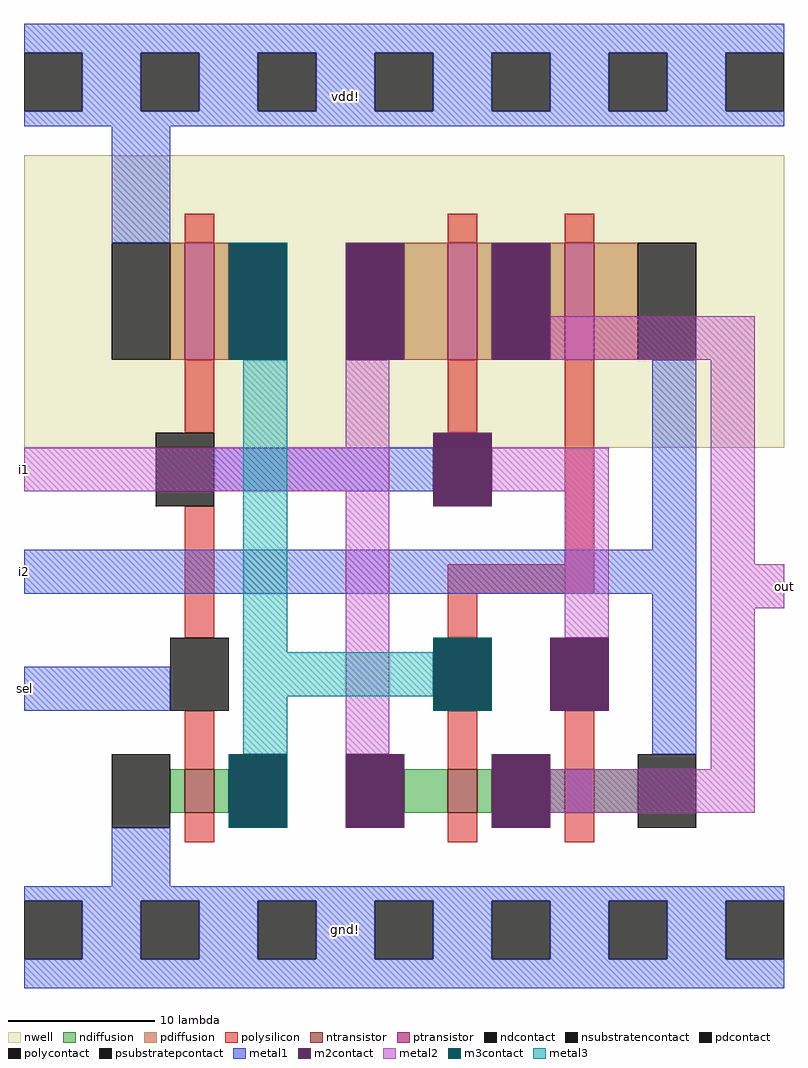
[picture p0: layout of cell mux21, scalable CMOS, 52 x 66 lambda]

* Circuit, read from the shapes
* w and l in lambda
.subckt mux21 gnd! i1 i2 out sel vdd!
M1 n1 sel gnd! gnd! nfet w=3 l=2
M2 out n1 i1 gnd! nfet w=3 l=2
M3 i2 sel out gnd! nfet w=3 l=2
M4 n1 sel vdd! n2 pfet w=8 l=2
M5 out sel i1 n2 pfet w=8 l=2
M6 i2 n1 out n2 pfet w=8 l=2
.ends

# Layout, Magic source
magic
tech scmos
<< nwell >>
rect 0 20 52 40
<< ntransistor >>
rect 11 -5 13 -2
rect 29 -5 31 -2
rect 37 -5 39 -2
<< ptransistor >>
rect 11 26 13 34
rect 29 26 31 34
rect 37 26 39 34
<< ndiffusion >>
rect 10 -5 11 -2
rect 13 -5 14 -2
rect 26 -5 29 -2
rect 31 -5 32 -2
rect 36 -5 37 -2
rect 39 -5 42 -2
<< pdiffusion >>
rect 10 26 11 34
rect 13 26 14 34
rect 26 26 29 34
rect 31 26 32 34
rect 36 26 37 34
rect 39 26 42 34
<< ndcontact >>
rect 6 -6 10 -1
rect 14 -6 18 -1
rect 22 -6 26 -1
rect 32 -6 36 -1
rect 42 -6 46 -1
<< pdcontact >>
rect 6 26 10 34
rect 14 26 18 34
rect 22 26 26 34
rect 32 26 36 34
rect 42 26 46 34
<< psubstratepcontact >>
rect 0 -15 4 -11
rect 8 -15 12 -11
rect 16 -15 20 -11
rect 24 -15 28 -11
rect 32 -15 36 -11
rect 40 -15 44 -11
rect 48 -15 52 -11
<< nsubstratencontact >>
rect 0 43 4 47
rect 8 43 12 47
rect 16 43 20 47
rect 24 43 28 47
rect 32 43 36 47
rect 40 43 44 47
rect 48 43 52 47
<< polysilicon >>
rect 11 34 13 36
rect 29 34 31 36
rect 37 34 39 36
rect 11 21 13 26
rect 29 21 31 26
rect 11 7 13 16
rect 37 12 39 26
rect 29 10 39 12
rect 29 7 31 10
rect 11 -2 13 2
rect 11 -7 13 -5
rect 29 -2 31 2
rect 29 -7 31 -5
rect 37 -2 39 2
rect 37 -7 39 -5
<< polycontact >>
rect 9 16 13 21
rect 28 16 32 21
rect 10 2 14 7
rect 28 2 32 7
rect 36 2 40 7
<< metal1 >>
rect 0 47 52 49
rect 4 43 8 47
rect 12 43 16 47
rect 20 43 24 47
rect 28 43 32 47
rect 36 43 40 47
rect 44 43 48 47
rect 0 42 52 43
rect 6 34 10 42
rect 13 17 28 20
rect 43 13 46 26
rect 0 10 46 13
rect 0 2 10 5
rect 43 -1 46 10
rect 6 -10 10 -6
rect 0 -11 52 -10
rect 4 -15 8 -11
rect 12 -15 16 -11
rect 20 -15 24 -11
rect 28 -15 32 -11
rect 36 -15 40 -11
rect 44 -15 48 -11
rect 0 -17 52 -15
<< m2contact >>
rect 14 26 18 34
rect 22 26 26 34
rect 32 26 36 34
rect 28 16 32 21
rect 28 2 32 7
rect 36 2 40 7
rect 14 -6 18 -1
rect 22 -6 26 -1
rect 32 -6 36 -1
<< metal2 >>
rect 36 26 50 29
rect 22 20 25 26
rect 0 17 25 20
rect 22 -1 25 17
rect 32 17 40 20
rect 37 7 40 17
rect 47 12 50 26
rect 47 9 52 12
rect 47 -2 50 9
rect 36 -5 50 -2
<< m3contact >>
rect 14 26 18 34
rect 28 2 32 7
rect 14 -6 18 -1
<< metal3 >>
rect 15 6 18 26
rect 15 3 28 6
rect 15 -1 18 3
<< labels >>
rlabel metal1 22 -13 22 -13 1 gnd!
rlabel metal1 22 44 22 44 5 vdd!
rlabel metal2 0 17 0 20 3 i1
rlabel metal1 0 10 0 13 3 i2
rlabel metal1 0 2 0 5 3 sel
rlabel metal2 52 9 52 12 7 out
<< end >>
